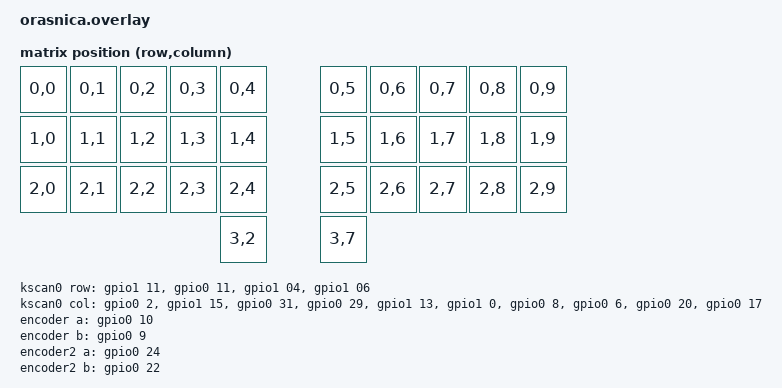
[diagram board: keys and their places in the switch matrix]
#include <dt-bindings/zmk/matrix_transform.h>

/ {
    chosen {
        zmk,kscan = &kscan0;
		zmk,matrix_transform = &default_transform;
    };

	default_transform: matrix_transform {
		compatible = "zmk,matrix-transform";
		rows = <4>;
		columns = <10>;
		map = <
			RC(0,0) RC(0,1) RC(0,2) RC(0,3) RC(0,4) RC(0,5) RC(0,6) RC(0,7) RC(0,8) RC(0,9)
			RC(1,0) RC(1,1) RC(1,2) RC(1,3) RC(1,4) RC(1,5) RC(1,6) RC(1,7) RC(1,8) RC(1,9)
			RC(2,0) RC(2,1) RC(2,2) RC(2,3) RC(2,4) RC(2,5) RC(2,6) RC(2,7) RC(2,8) RC(2,9)
			                RC(3,2)                                 RC(3,7)
		>;
	};

    kscan0: kscan {
        compatible = "zmk,kscan-gpio-matrix";
        label = "KSCAN";
        diode-direction = "col2row";

        col-gpios
            = <&gpio0     2 GPIO_ACTIVE_HIGH>
            , <&gpio1    15 GPIO_ACTIVE_HIGH>
            , <&gpio0    31 GPIO_ACTIVE_HIGH>
            , <&gpio0    29 GPIO_ACTIVE_HIGH>
            , <&gpio1    13 GPIO_ACTIVE_HIGH>
            , <&gpio1     0 GPIO_ACTIVE_HIGH>
            , <&gpio0     8 GPIO_ACTIVE_HIGH>
            , <&gpio0     6 GPIO_ACTIVE_HIGH>
            , <&gpio0    20 GPIO_ACTIVE_HIGH>
            , <&gpio0    17 GPIO_ACTIVE_HIGH>
            ;

        row-gpios
            = <&gpio1    11 (GPIO_ACTIVE_HIGH | GPIO_PULL_DOWN)>
            , <&gpio0    11 (GPIO_ACTIVE_HIGH | GPIO_PULL_DOWN)>
            , <&gpio1    04 (GPIO_ACTIVE_HIGH | GPIO_PULL_DOWN)>
            , <&gpio1    06 (GPIO_ACTIVE_HIGH | GPIO_PULL_DOWN)>
            ;
    };

  encoder: encoder {
        compatible = "alps,ec11";
        label = "ENCODER";
        a-gpios = <&gpio0 10 (GPIO_ACTIVE_HIGH | GPIO_PULL_UP)>;
        b-gpios = <&gpio0  9 (GPIO_ACTIVE_HIGH | GPIO_PULL_UP)>;
        resolution = <2>;
    };

    encoder2: encoder2 {
        compatible = "alps,ec11";
        label = "ENCODER2";
        a-gpios = <&gpio0 24 (GPIO_ACTIVE_HIGH | GPIO_PULL_UP)>;
        b-gpios = <&gpio0 22 (GPIO_ACTIVE_HIGH | GPIO_PULL_UP)>;
        resolution = <2>;
    };

    sensors {
    	compatible = "zmk,keymap-sensors";
    	sensors = <
    		&encoder
    		&encoder2
    	>;
    };
};
